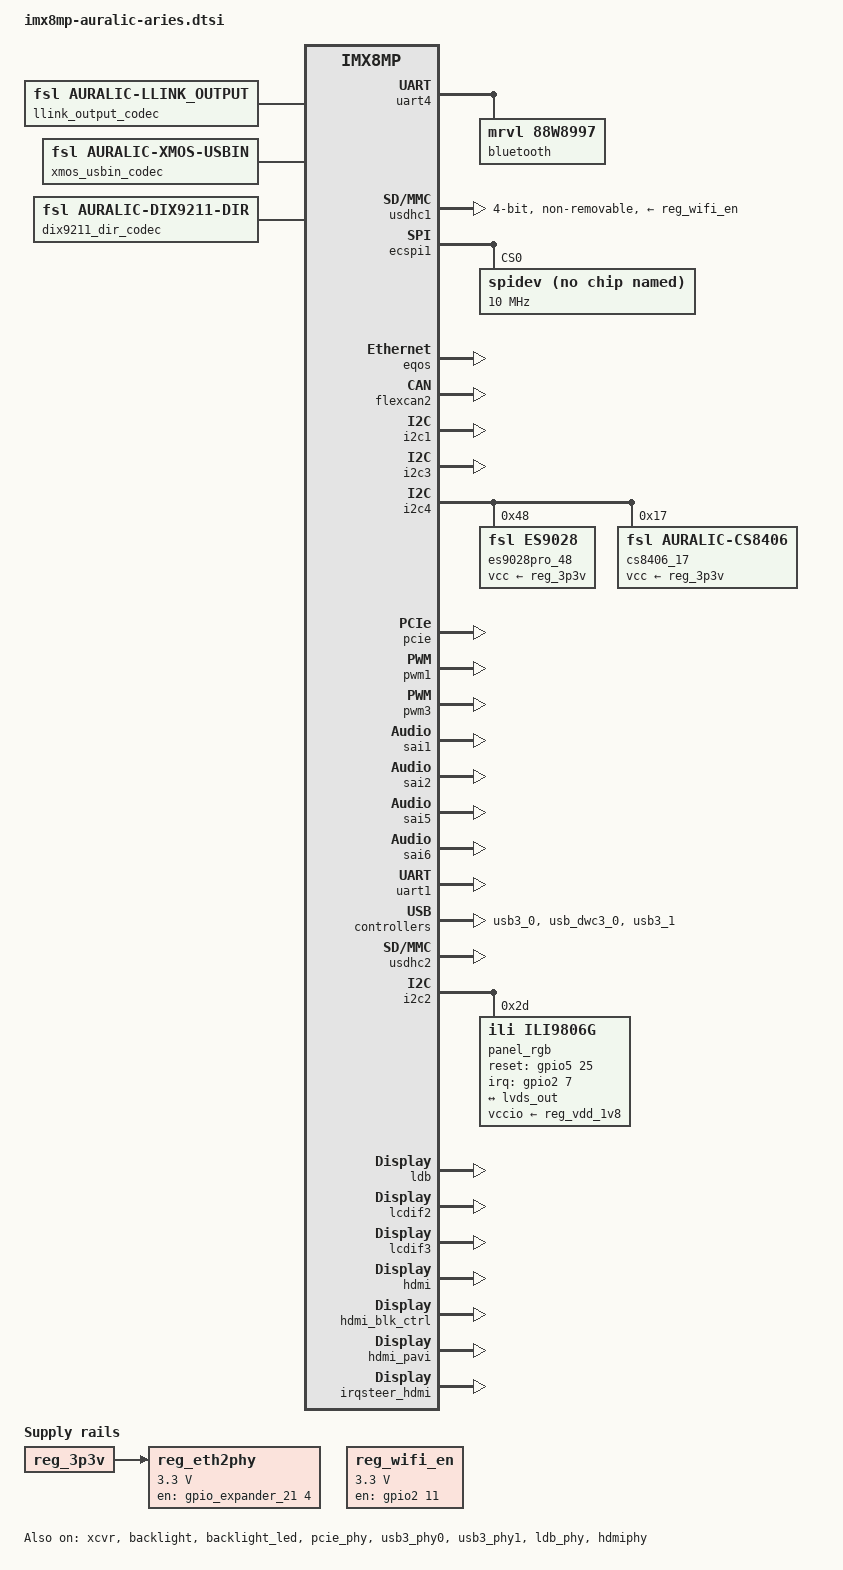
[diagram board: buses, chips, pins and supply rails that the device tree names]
// SPDX-License-Identifier: GPL-2.0-or-later OR MIT
/*
 * Copyright 2022 Toradex
 */

/ {
	reg_wifi_en: regulator-wifi-en {
		compatible = "regulator-fixed";
		enable-active-high;
		gpio = <&gpio2 11 GPIO_ACTIVE_HIGH>;
		pinctrl-names = "default";
		pinctrl-0 = <&pinctrl_wifi_pwr_en>;
		regulator-max-microvolt = <3300000>;
		regulator-min-microvolt = <3300000>;
		regulator-name = "PDn_AW-CM276NF";
		startup-delay-us = <2000>;
	};
	reg_eth2phy: regulator-eth2phy {
		compatible = "regulator-fixed";
		enable-active-high;
		gpio = <&gpio_expander_21 4 GPIO_ACTIVE_HIGH>; /* ETH_PWR_EN */
		off-on-delay = <500000>;
		regulator-max-microvolt = <3300000>;
		regulator-min-microvolt = <3300000>;
		regulator-name = "+V3.3_ETH";
		startup-delay-us = <200000>;
		vin-supply = <&reg_3p3v>;
	};
	outcodec: sound-wwan-codec {
		compatible = "linux,snd-soc-dummy";
		status = "disabled";
		#sound-dai-cells = <0>;
		pinctrl-names = "default";
		pinctrl-0 = <&pinctrl_sai1>;
	};
	codec1: codec1 {
		compatible = "linux,snd-soc-dummy";
		status = "okay";
	    #sound-dai-cells = <0>;
		//sound-name-prefix = "1";
	};
	llink_output_codec: llink_output_codec {
		compatible = "fsl,auralic-llink_output";
		status = "okay";
	    #sound-dai-cells = <0>;
	    //pinctrl-names = "default";
	    //pinctrl-0 = <&pinctrl_sai1>;
	};
	codec2: codec2 {
		compatible = "linux,snd-soc-dummy";
		status = "disabled";
	    #sound-dai-cells = <0>;
	    pinctrl-names = "default";
	    pinctrl-0 = <&pinctrl_sai2>;
	};
	codec5: codec5 {
		compatible = "linux,snd-soc-dummy";
		status = "okay";
		#sound-dai-cells = <0>;
	};
	xmos_usbin_codec: xmos_usbin_codec {
		compatible = "fsl,auralic-xmos-usbin";
		status = "okay";
	    #sound-dai-cells = <0>;
	};
	codec6: codec6 {
		compatible = "linux,snd-soc-dummy";
		status = "okay";
		#sound-dai-cells = <0>;
	};
	dix9211_dir_codec: dix9211_dir_codec {
		compatible = "fsl,auralic-dix9211-dir";
		status = "okay";
	    #sound-dai-cells = <0>;
	};

	sound-sai1 {
		compatible = "fsl,imx-audio-card";
		model = "imx-sound-sai1";
        auralic_sound_card_index = <0>;
		
        llink-dai-link {
			link-name = "Lightning Link Output";
            format = "pdm";
			cpu {
				sound-dai = <&sai1>;
			};
			codec {
				sound-dai = <&llink_output_codec>;
			};
		};
        
		dit-dai-link {
			link-name = "Digital Output";
            format = "i2s";
			cpu {
				sound-dai = <&sai1>;
			};
			codec {
				sound-dai = <&cs8406_17>;
			};
		};
        
	};
	sound-sai2 {
		compatible = "fsl,imx-audio-card";
		model = "imx-sound-sai2";
        auralic_sound_card_index = <1>;
		pri-dai-link {
			link-name = "PDM PCM";
			format = "pdm";
			cpu {
				sound-dai = <&sai2>;
			};
			codec {
				sound-dai = <&codec2>;
			};
		};
	};
	sound-sai5 {
		compatible = "fsl,imx-audio-card";
		model = "imx-sound-sai5";
        auralic_sound_card_index = <3>;
		pri-dai-link {
			link-name = "PDM PCM";
			format = "pdm";
			cpu {
				sound-dai = <&sai5>;
			};
			codec {
			    sound-dai = <&xmos_usbin_codec>;
            };
		};
	};
	sound-sai6 {
		compatible = "fsl,imx-audio-card";
		model = "imx-sound-sai6";
        auralic_sound_card_index = <2>;
		pri-dai-link {
			link-name = "PDM PCM";
			format = "pdm";
			cpu {
				sound-dai = <&sai6>;
			};
			codec {
                sound-dai = <&dix9211_dir_codec>;
			};
		};
	};
#if 1
	sound-xcvr {
		compatible = "fsl,imx-audio-card";
		model = "imx-audio-xcvr";
        auralic_sound_card_index = <4>;
		pri-dai-link {
			link-name = "XCVR PCM";
			cpu {
				sound-dai = <&xcvr>;
			};
		};
	};
#endif
};
&gpio5 {
	gpio-line-names = "SODIMM_42",
			  "SODIMM_46",
			  "SODIMM_187",
			  "SODIMM_20",
			  "SODIMM_22",
			  "SODIMM_15",
			  "SODIMM_196",
			  "SODIMM_200",
			  "SODIMM_198",
			  "SODIMM_202",
			  "",
			  "",
			  "",
			  "",
			  "",
			  "",
			  "SODIMM_55",
			  "SODIMM_53",
			  "SODIMM_95",
			  "SODIMM_93",
			  "SODIMM_14",
			  "SODIMM_12",
			  "SODIMM_129",
			  "SODIMM_131",
			  "SODIMM_137",
			  "SODIMM_139",
			  "SODIMM_147",
			  "SODIMM_149",
			  "SODIMM_151",
			  "SODIMM_153";
};
#if 0
&iomuxc {
	pinctrl-names = "default";
	pinctrl-0 = <&pinctrl_gpio1>, <&pinctrl_gpio2>,
		    <&pinctrl_gpio3>, <&pinctrl_gpio4>,
		    <&pinctrl_gpio7>, <&pinctrl_gpio8>,
		    <&pinctrl_gpio_hog3>, <&pinctrl_gpio_hog4>,
		    <&pinctrl_hdmi_hog>;
};
#endif
&iomuxc {
	pinctrl-names = "default";
	pinctrl-0 = <&pinctrl_gpio1>,
		    <&pinctrl_gpio3>, <&pinctrl_gpio4>,
		    <&pinctrl_gpio7>, <&pinctrl_gpio8>,
		    <&pinctrl_hdmi_hog>, <&pinctrl_auralic_hog>;
};
#if 1
&xcvr {
    //pinctrl-names = "default";
    //pinctrl-0 = <&pinctrl_xcvr>;
    #sound-dai-cells = <0>;
    status = "okay";
};
#endif
/* On-module Bluetooth */
&uart4 {
	uart-has-rtscts;
	pinctrl-names = "default";
	pinctrl-0 = <&pinctrl_bt_uart>;
	status = "okay";

	bluetooth {
		compatible = "mrvl,88w8997";
		max-speed = <921600>;
	};
};

/* On-module Wi-Fi */
&usdhc1 {
	bus-width = <4>;
	fsl,sdio-async-interrupt-enabled;
	keep-power-in-suspend;
	non-removable;
	pinctrl-names = "default", "state_100mhz", "state_200mhz";
	pinctrl-0 = <&pinctrl_usdhc1>, <&pinctrl_wifi_ctrl>;
	pinctrl-1 = <&pinctrl_usdhc1_100mhz>, <&pinctrl_wifi_ctrl>;
	pinctrl-2 = <&pinctrl_usdhc1_200mhz>, <&pinctrl_wifi_ctrl>;
	vmmc-supply = <&reg_wifi_en>;
	status = "okay";
};
&backlight {
	power-supply = <&reg_3p3v>;
    status = "okay";
};
&backlight_led {
	power-supply = <&reg_3p3v>;
    status = "okay";
};
/* Verdin SPI_1 */
#if 1
&ecspi1 {
	status = "okay";
};
#endif
/* EEPROM on display adapter boards */
&eeprom_display_adapter {
	status = "disabled";
};

/* EEPROM on Verdin Development board */
&eeprom_carrier_board {
	status = "disabled";
};

&eqos {
	status = "okay";
};

&fec {
	phy-supply = <&reg_eth2phy>;
	status = "disabled";
};

&flexcan1 {
	status = "disabled";
};
//因为和verdin的uart冲突，暂时禁用
&flexcan2 {
	status = "okay";
};

/* Verdin QSPI_1 */
&flexspi {
	status = "disabled";
};

&gpio_expander_21 {
	status = "disabled";
	vcc-supply = <&reg_1p8v>;
};

/* Current measurement into module VCC */
&hwmon {
	status = "disabled";
};

&hwmon_temp {
	vs-supply = <&reg_1p8v>;
	status = "disabled";
};

&i2c1 {
	//status = "disabled";
    status = "okay";
};
/* Verdin I2C_2_DSI */
&i2c3 {
	status = "okay";
   /* 
dix9211_40:codec-9211@40 {
		compatible = "fsl,auralic-dix9211";
		#sound-dai-cells = <0>;
               reg = <0x40>;
		vcc-supply = <&reg_3p3v>;
               status = "okay";
           };
*/
    /*
xmos_50:codec-xmos@50 {
		compatible = "fsl,auralic-xmos";
		#sound-dai-cells = <0>;
               reg = <0x50>;
		vcc-supply = <&reg_3p3v>;
               status = "okay";
           };
      */     
};

/* Verdin I2C_1 */
&i2c4 {
	status = "okay";

	/* Audio Codec */
   /* 
	nau8822_1a: codec-nau@1a {
		compatible = "nuvoton,nau8822";
		//pinctrl-names = "default";
		//pinctrl-0 = <&pinctrl_sai1>;
		//#sound-dai-cells = <0>;
		reg = <0x1a>;
    };
    */
    
    es9028pro_48:es9029pro@48 {
		compatible = "fsl,es9028";
        reg = <0x48>;
		vcc-supply = <&reg_3p3v>;
        status = "okay";
    };
    
    cs8406_17:codec-8406@17 {
		compatible = "fsl,auralic-cs8406";
		#sound-dai-cells = <0>;
		//sound-name-prefix = "0";
        reg = <0x17>;
		vcc-supply = <&reg_3p3v>;
		//pinctrl-names = "default";
		//pinctrl-0 = <&pinctrl_sai1>;
        //reset-gpio = <&gpio3 0 GPIO_ACTIVE_HIGH>;
        //mclk-gpio = <&gpio3 1 GPIO_ACTIVE_HIGH>;
        status = "okay";
    };
};

/* Verdin PCIE_1 */
&pcie {
	epdev_on-supply = <&reg_3p3v>;
	status = "okay";
};

&pcie_phy {
	status = "okay";
};

/* Verdin PWM_1  for auralic lcd */
&pwm1 {
	status = "okay";
};

/* Verdin PWM_2 */
&pwm2 {
	status = "disabled";
};

/* Verdin PWM_3_DSI */
&pwm3 {
	status = "okay";
};

&reg_usdhc2_vmmc {
	vin-supply = <&reg_3p3v>;
};

/* VERDIN I2S_1 */
/*slave ,data out ,done*/
&sai1 {
	dmas = <&sdma2 0 25 0>, <&sdma2 1 25 0>;
	#sound-dai-cells = <0>;
	pinctrl-names = "default";
	pinctrl-0 = <&pinctrl_sai1>;
    assigned-clocks = <&clk IMX8MP_CLK_SAI1>;
	assigned-clock-parents = <&clk IMX8MP_AUDIO_PLL1_OUT>;
	assigned-clock-rates = <49152000>;
	clocks = <&audio_blk_ctrl IMX8MP_CLK_AUDIO_BLK_CTRL_SAI1_IPG>, <&clk IMX8MP_CLK_DUMMY>,
		<&audio_blk_ctrl IMX8MP_CLK_AUDIO_BLK_CTRL_SAI1_MCLK1>, <&clk IMX8MP_CLK_DUMMY>,
		<&clk IMX8MP_CLK_DUMMY>, <&clk IMX8MP_AUDIO_PLL1_OUT>,
		<&clk IMX8MP_AUDIO_PLL2_OUT>;
	clock-names = "bus", "mclk0", "mclk1", "mclk2", "mclk3", "pll8k", "pll11k";
    fsl,sai-asynchronous;
	fsl,sai-mclk-direction-output;
    //fsl,txmasterflag = <1>; //1:slave bclk and slave sync;4:master bclk and master sync;3: slave bclk,master sync,这里不指定，则由codec指定,如果指定了，再从codec指定无效，sai driver会判断
    fsl,sai-multi-lane;
	fsl,dataline,dsd = <0 0xff 0xff>;
    fsl,swap-dsd; //dsd左右声道反转
    status = "okay";
};
/* VERDIN I2S_2 */
/*slave ,data out ,done*/
&sai2 {
	dmas = <&sdma2 2 25 0>, <&sdma2 3 25 0>;
	#sound-dai-cells = <0>;
    assigned-clocks = <&clk IMX8MP_CLK_SAI2>;
	assigned-clock-parents = <&clk IMX8MP_AUDIO_PLL1_OUT>;
	assigned-clock-rates = <49152000>;
    clocks = <&audio_blk_ctrl IMX8MP_CLK_AUDIO_BLK_CTRL_SAI2_IPG>, <&clk IMX8MP_CLK_DUMMY>,
		<&audio_blk_ctrl IMX8MP_CLK_AUDIO_BLK_CTRL_SAI2_MCLK1>, <&clk IMX8MP_CLK_DUMMY>,
		<&clk IMX8MP_CLK_DUMMY>, <&clk IMX8MP_AUDIO_PLL1_OUT>,
		<&clk IMX8MP_AUDIO_PLL2_OUT>;
	clock-names = "bus", "mclk0", "mclk1", "mclk2", "mclk3", "pll8k", "pll11k";
    fsl,sai-asynchronous;//slave模式指定这行其实没有效果，默认就是异步模式
    fsl,sai-mclk-direction-output;
    fsl,txmasterflag = <1>; //1:slave bclk and slave sync;4:master bclk and master sync;3: slave bclk,master sync
    //fsl,txmasterflag = <4>; //展会的临时设置
    fsl,sai-multi-lane;
	fsl,dataline,dsd = <0 0xff 0xff>;
    fsl,swap-dsd; //dsd左右声道反转
    status = "okay";
};
/* VERDIN I2S_3 */
/*master mode,MCLK input,data in*/
&sai5 {
	dmas = <&sdma2 8 25 0>, <&sdma2 9 25 0>;
	#sound-dai-cells = <0>;
	pinctrl-names = "default";
	pinctrl-0 = <&pinctrl_sai5>;
    assigned-clocks = <&clk IMX8MP_CLK_SAI5>,<&audio_blk_ctrl IMX8MP_CLK_AUDIO_BLK_CTRL_SAI5_MCLK1_SEL>;//<&sai5_mclk 0>;
	assigned-clock-parents = <&clk IMX8MP_AUDIO_PLL1_OUT>,<&sai5_mclk 0>;
	assigned-clock-rates = <49152000>;
    
	clocks = <&audio_blk_ctrl IMX8MP_CLK_AUDIO_BLK_CTRL_SAI5_IPG>, <&clk IMX8MP_CLK_DUMMY>,
		<&audio_blk_ctrl IMX8MP_CLK_AUDIO_BLK_CTRL_SAI5_MCLK1>, <&clk IMX8MP_CLK_DUMMY>,
		<&clk IMX8MP_CLK_DUMMY>, <&clk IMX8MP_AUDIO_PLL1_OUT>,
		<&clk IMX8MP_AUDIO_PLL2_OUT>;
	clock-names = "bus", "mclk0", "mclk1", "mclk2", "mclk3", "pll8k", "pll11k";
    fsl,sai-asynchronous; //不能删除
	fsl,sai-mclk-direction-input;
    fsl,rxmasterflag = <4>; //1:slave bclk and slave sync;4:master bclk and master sync
    fsl,sai-multi-lane;
	fsl,dataline,dsd = <0 0x3 0xff>;
    fsl,swap-dsd; //dsd左右声道反转
    status = "okay";
};
/*slave mode,data in, done*/
&sai6 {
	//dmas = <&sdma2 10 25 0>, <&sdma2 11 25 0>;//不能有这行内核会崩溃
	#sound-dai-cells = <0>;
	pinctrl-names = "default";
	pinctrl-0 = <&pinctrl_sai6>;
	assigned-clocks = <&clk IMX8MP_CLK_SAI6>;//,<&audio_blk_ctrl IMX8MP_CLK_AUDIO_BLK_CTRL_SAI6_MCLK1_SEL>;
	assigned-clock-parents = <&clk IMX8MP_AUDIO_PLL1_OUT>;//,<&sai6_mclk 0>;
	assigned-clock-rates = <49152000>;//<24576000>;
	clocks = <&audio_blk_ctrl IMX8MP_CLK_AUDIO_BLK_CTRL_SAI6_IPG>, <&clk IMX8MP_CLK_DUMMY>,
		<&audio_blk_ctrl IMX8MP_CLK_AUDIO_BLK_CTRL_SAI6_MCLK1>, <&clk IMX8MP_CLK_DUMMY>,
		<&clk IMX8MP_CLK_DUMMY>, <&clk IMX8MP_AUDIO_PLL1_OUT>,
		<&clk IMX8MP_AUDIO_PLL2_OUT>;
	clock-names = "bus", "mclk0", "mclk1", "mclk2", "mclk3", "pll8k", "pll11k";
	fsl,sai-asynchronous;
    fsl,sai-mclk-direction-output;
    fsl,rxmasterflag = <1>; //1:slave bclk and slave sync;4:master bclk and master sync
    status = "okay";
};

&sdma2 {
	status = "okay";
};

/* Verdin UART_1, connector X50 through RS485 transceiver */
&uart1 {
    linux,rs485-enabled-at-boot-time;
	rs485-rts-active-low;
	rs485-rx-during-tx;
	status = "okay";
};

/* Verdin UART_2 */
&uart2 {
	status = "disabled";
};

/* Verdin UART_3, used as the Linux Console */
&uart3 {
	status = "disabled";//启用can需要禁用uart3
};

/* Verdin USB_1 */
&usb3_0 {
	status = "okay";
};

&usb3_phy0 {
	status = "okay";
};
&usb_dwc3_0 {
    status = "okay";
};
/* Verdin USB_2 */
&usb3_1 {
	fsl,permanently-attached;
	status = "okay";
};

&usb3_phy1 {
	status = "okay";
};

/* Limit frequency on dev board due to long traces and bad signal integrity */
&usdhc2 {
	max-frequency = <100000000>;
	status = "okay";
};
#if 1
&ecspi1 {
    fsl,spi-num-chipselects = <1>;
	status = "okay";
    spidev@0 {
		/* Use compatible "rohm,dh2228fv" to bind spidev driver */
		compatible = "rohm,dh2228fv";
		reg = <0>;
		spi-max-frequency = <10000000>;
    };
#if 0
    lcd_panel: display@0 {
                  compatible = "ili,ili9806g";
                  status = "okay";
                  spi-max-frequency = <1000000>;
                  reg = <0>;
                  port {
                      ttl_in: endpoint {
                          remote-endpoint = <&lt9211_out>;
                      };
                  };
              };
#endif
};
#endif
&i2c2 {
	status = "okay";
panel_rgb:bridge@2d {
      compatible = "ili,ili9806g";
	  reset-gpios = <&gpio5 25 GPIO_ACTIVE_HIGH>;
	  interrupts-extended = <&gpio2 7 IRQ_TYPE_EDGE_FALLING>;
      vccio-supply = <&reg_vdd_1v8>;
      reg = <0x2d>;
      status = "okay";
      width-mm = <52>;
      height-mm = <86>;
      data-mapping = "vesa-24";
      //rotation = <270>;
	panel-timing {
		clock-frequency = <26730000>;
		de-active = <1>;
        vsync-active = <1>;
        hsync-active = <1>;
		hactive = <480>;
		hback-porch = <30>;
		hfront-porch = <30>;
		hsync-len = <10>;
		pixelclk-active = <0>; /*? positive edge */
		vactive = <800>;
		vback-porch = <15>;
		vfront-porch = <8>;
		vsync-len = <2>;
	};
      port {
        panel_in_rgb: endpoint {
          //remote-endpoint = <&lt9211_out>;
          remote-endpoint = <&lvds_out>;
        };
      };
    };
};
&ldb {
    status = "okay";
	lvds_channel0: lvds-channel@0 {
        /*Bus format is MEDIA_BUS_FMT_RGB888_1X7X4_SPWG*/
		fsl,data-mapping = "spwg";
		fsl,data-width = <24>;
		status = "okay";
        /delete-node/ port@1;
		port@1 {
			reg = <1>;

			lvds_out: endpoint {
				//remote-endpoint = <&lt9211_in>;
				remote-endpoint = <&panel_in_rgb>;
            };
		};
	};
};
&ldb_phy {
	status = "okay";
};

//&lvds_lt9211 {
//    status = "okay";
//};
&lcdif2 {
	status = "okay";
};
#if 1
&lcdif3 {
	status = "okay";
};
&hdmi {
	status = "okay";
};

&hdmiphy {
	status = "okay";
};

&hdmi_blk_ctrl {
	status = "okay";
};

&hdmi_pavi {
	status = "okay";
};

&irqsteer_hdmi {
	status = "okay";
};
#endif
